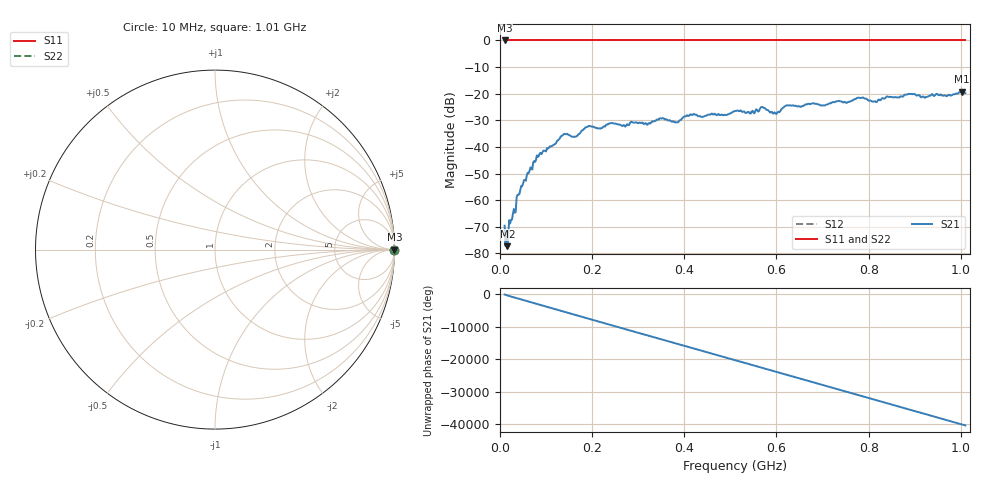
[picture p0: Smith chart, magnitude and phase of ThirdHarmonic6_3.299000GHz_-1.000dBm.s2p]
! 8/17/2025 10:16:55 AM
! C:\ANRITSUVNA\TEMP\TEMP.S2P
! CHANNEL.1
! TR.MEASUREMENT
! RAW.DATA
! RF.CORRECTION.OFF
! AVERAGING.OFF
! IF.BANDWIDTH: 5KHZ
! SWEEPTYPE:  FREQ.SWEEP(Linear)
! Reference Plane Port Info
! PORT:  PORT1  PORT2
! DISTANCE:  0  m  0  m
! TIME:  0  s  0  s
! PHASE.OFFSET:  0  deg.  0  deg.
! LOSS:  0  dB  0  dB
! REF.LOSS:  0  dB  0  dB
! REF.FREQ:  0  Hz  0  Hz
! Power Info
! POWER:  -20  dBm  -20  dBm
! EFF.POWER:  -20  dBm  -20  dBm
! SOURCE.ATTEN:  0  dB  0  dB
! TEST.ATTEN:  0  dB  0  dB
# GHZ S RI R 50.0
! FREQ.GHZ  S11RE  S11IM  S21RE  S21IM  S12RE  S12IM  S22RE  S22IM
!; PortSelection: Port_12
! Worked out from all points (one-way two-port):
!   501 points, 10 MHz to 1.01 GHz, reference 50 ohm
!   highest |S21| = -19.28 dB at 1.002 GHz (marker M1); lowest = -77.3 dB at 16 MHz (marker M2)
!   lowest |S11| = 0.0 dB at 10 MHz (marker M3)
!   |S11| at or under -10 dB: nowhere
!   |S22| runs from 0.0 to 0.0 dB; largest |S21 - S12| = 1.1
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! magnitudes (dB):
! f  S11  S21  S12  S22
! 10 MHz  0.0  -69.6  0.0  0.0
! 16 MHz  0.0  -77.3  0.0  0.0
! 40 MHz  0.0  -57.9  0.0  0.0
! 84 MHz  0.0  -43.5  0.0  0.0
! 136 MHz  0.0  -35.7  0.0  0.0
! 162 MHz  0.0  -36.1  0.0  0.0
! 178 MHz  0.0  -33.8  0.0  0.0
! 192 MHz  0.0  -32.2  0.0  0.0
! 344 MHz  0.0  -29.8  0.0  0.0
! 382 MHz  0.0  -30.7  0.0  0.0
! 416 MHz  0.0  -28.0  0.0  0.0
! 510 MHz  0.0  -26.5  0.0  0.0
! 548 MHz  0.0  -26.4  0.0  0.0
! 570 MHz  0.0  -25.1  0.0  0.0
! 596 MHz  0.0  -27.0  0.0  0.0
! 622 MHz  0.0  -24.4  0.0  0.0
! 678 MHz  0.0  -23.7  0.0  0.0
! 784 MHz  0.0  -21.6  0.0  0.0
! 814 MHz  0.0  -22.8  0.0  0.0
! 844 MHz  0.0  -21.2  0.0  0.0
! 1.002 GHz  0.0  -19.3  0.0  0.0
! 1.01 GHz  0.0  -19.8  0.0  0.0
